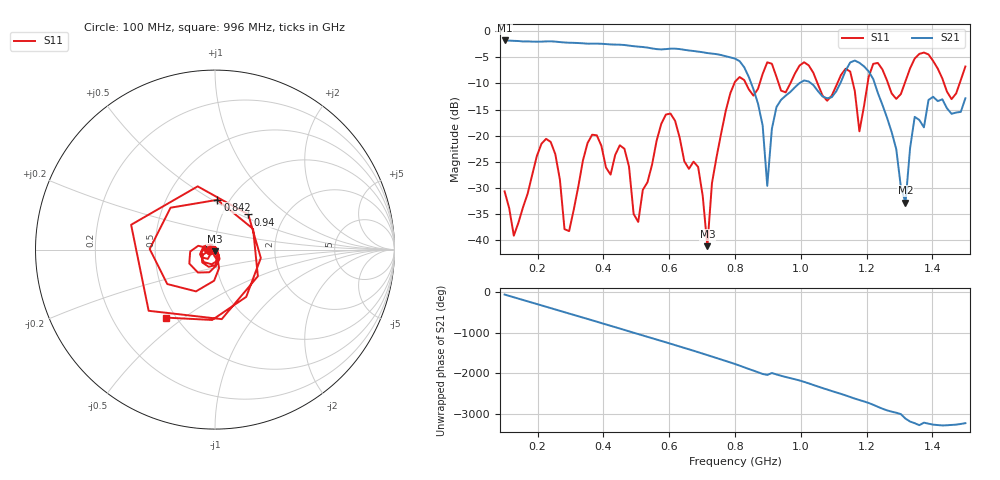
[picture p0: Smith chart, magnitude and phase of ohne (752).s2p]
! NanoVNA-App
! Date: 2025-09-25 14:26:39
! Start: 100MHz Stop: 1,5GHz Points: 101
! S-Parameter data: F S11 S21 S12 S22
# Hz S RI R 50
!  Frequency  S11_Real  S11_Imag  S21_Real  S21_Imag  S12_Real  S12_Imag  S22_Real  S22_Imag
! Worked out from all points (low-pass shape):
!   101 points, 100 MHz to 1.5 GHz, reference 50 ohm
!   highest |S21| = -1.79 dB at 100 MHz (marker M1); lowest = -32.8 dB at 1.318 GHz (marker M2)
!   |S21| within 3 dB of the highest: start of sweep to 770.9 MHz
!   lowest |S11| = -41.1 dB at 716 MHz (marker M3), VSWR 1.02, Z = 49.8 - j0.865 ohm
!   |S11| at or under -10 dB: start of sweep to 797.9 MHz; 833 MHz to 875 MHz (42 MHz wide, 4.92 % of centre); 1.051 GHz to 1.111 GHz (60.03 MHz wide, 5.55 % of centre) (the widest 3 of 7)
!   S12 and S22 are empty: the file has one direction only
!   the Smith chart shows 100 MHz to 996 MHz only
!   S11 on the Smith chart (normalised r, x): 100 MHz: 0.94, -0.01; 842 MHz: 0.88, +0.53; 940 MHz: 1.32, +0.56; 996 MHz: 0.44, -0.43
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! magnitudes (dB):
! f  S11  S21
! 100 MHz  -30.6  -1.8
! 128 MHz  -39.1  -1.9
! 226 MHz  -20.6  -2.0
! 296 MHz  -38.2  -2.2
! 338 MHz  -24.7  -2.3
! 464 MHz  -22.5  -2.7
! 506 MHz  -36.5  -3.0
! 576 MHz  -17.7  -3.5
! 688 MHz  -26.0  -3.9
! 716 MHz  -41.1  -4.2
! 800 MHz  -9.7  -5.3
! 842 MHz  -11.1  -8.8
! 898 MHz  -6.0  -29.6
! 940 MHz  -11.4  -13.1
! 996 MHz  -6.6  -9.9
! 1.038 GHz  -8.0  -10.3
! 1.178 GHz  -19.2  -6.1
! 1.22 GHz  -6.3  -9.2
! 1.276 GHz  -11.9  -19.3
! 1.318 GHz  -9.6  -32.8
! 1.346 GHz  -5.3  -16.4
! 1.5 GHz  -6.8  -12.8
